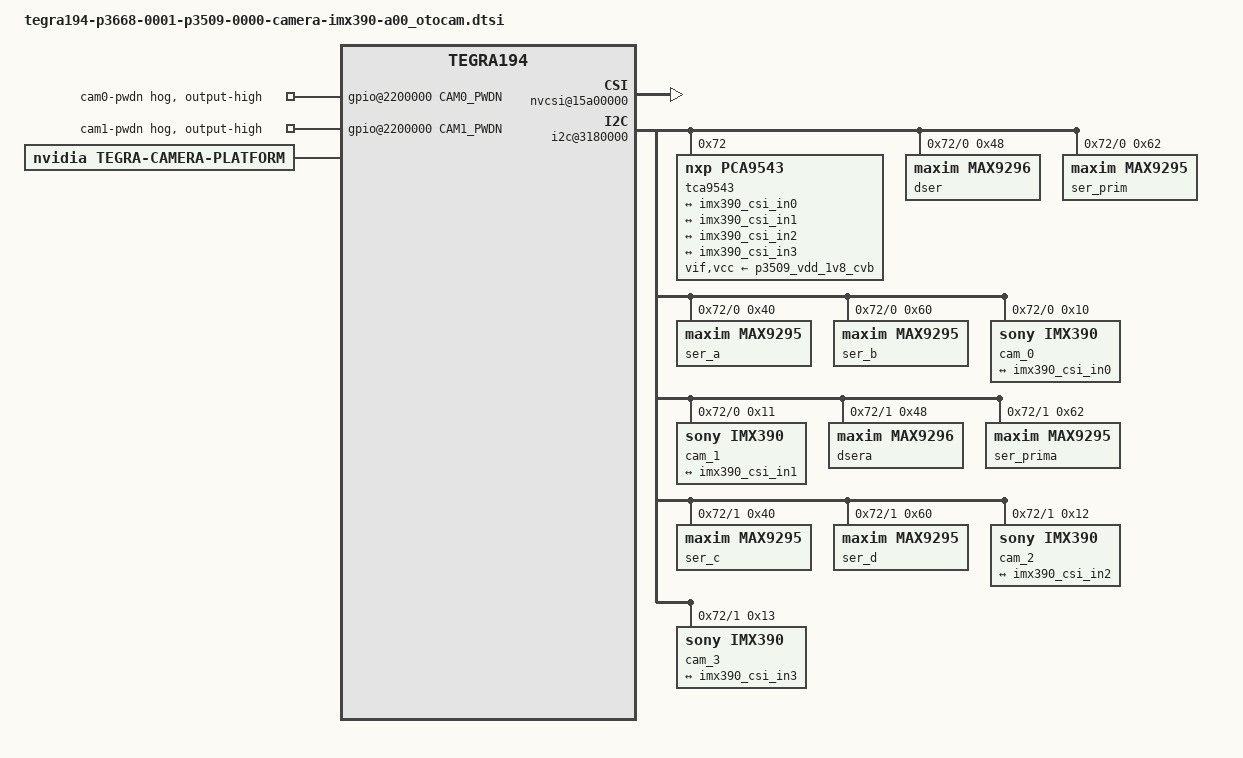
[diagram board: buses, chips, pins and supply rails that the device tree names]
/*
 * Copyright (c) 2018-2021, NVIDIA CORPORATION.  All rights reserved.
 *
 * This program is free software; you can redistribute it and/or modify it
 * under the terms and conditions of the GNU General Public License,
 * version 2, as published by the Free Software Foundation.
 *
 * This program is distributed in the hope it will be useful, but WITHOUT
 * ANY WARRANTY; without even the implied warranty of MERCHANTABILITY or
 * FITNESS FOR A PARTICULAR PURPOSE.  See the GNU General Public License for
 * more details.
 *
 * You should have received a copy of the GNU General Public License
 * along with this program.  If not, see <http://www.gnu.org/licenses/>.
 */

#include "dt-bindings/clock/tegra194-clock.h"
#define CAM0_PWDN	TEGRA194_MAIN_GPIO(P, 4)
#define CAM1_PWDN	TEGRA194_MAIN_GPIO(P, 5)
#define CAMERA_I2C_MUX_BUS(x) (0x1E + x)

/*
 * EAC-2000 (Navier NX)
 * PCA9543APWR*1
 * MAX9296*2
 */

/* The lanes number of CSI-A of MAX9296 */
#define CAM_LANES 4

/ {
	gpio@2200000 {
		/* CAM0_PWDN Power */
		camera-control-0_output-high {
			status = "okay";
			gpio-hog;
			gpios = <CAM0_PWDN 0>;
			output-high;
			label = "cam0-pwdn";
		};
		/* CAM1_PWDN Power */
		camera-control-1_output-high {
			status = "okay";
			gpio-hog;
			gpios = <CAM1_PWDN 0>;
			output-high;
			label = "cam1-pwdn";
		};
	};
     
	capture_vi_base: tegra-capture-vi  {
		num-channels = <4>; /* total cameras of EAC-2000 */
		#address-cells = <1>;
		#size-cells = <0>;
		status = "okay";

		ports {
			#address-cells = <1>;
			#size-cells = <0>;

			port@0 {
				reg = <0>;
				status = "okay";
				imx390_vi_in0: endpoint {
					status = "okay";
					vc-id = <0>;
					port-index = <0>;
					bus-width = <CAM_LANES>;
					remote-endpoint = <&imx390_csi_out0>;
				};
			};
			port@1 {
				reg = <1>;
				status = "okay";
				imx390_vi_in1: endpoint {
					status = "okay";
					vc-id = <1>;
					port-index = <0>;
					bus-width = <CAM_LANES>;
					remote-endpoint = <&imx390_csi_out1>;
				};
			};
			port@2 {
				reg = <2>;
				status = "okay";
				imx390_vi_in2: endpoint {
					status = "okay";
					vc-id = <0>;
					port-index = <2>;
					bus-width = <CAM_LANES>;
					remote-endpoint = <&imx390_csi_out2>;
				};
			};
			port@3 {
				reg = <3>;
				status = "okay";
				imx390_vi_in3: endpoint {
					status = "okay";
					vc-id = <1>;
					port-index = <2>;
					bus-width = <CAM_LANES>;
					remote-endpoint = <&imx390_csi_out3>;
				};
			};
		};
	}; /* End of capture_vi_base */

	host1x@13e00000 {
		nvcsi@15a00000 {
			num-channels = <4>; /* total cameras of EAC-2000 */
			#address-cells = <1>;
			#size-cells = <0>;
			status = "okay";

 			channel@0 {
				reg = <0>;
				status = "okay";
				ports {
					#address-cells = <1>;
					#size-cells = <0>;
					port@0 {
						reg = <0>;
						status = "okay";
						imx390_csi_in0: endpoint@0 {
							status = "okay";
							port-index = <0>;
							bus-width = <CAM_LANES>;
							remote-endpoint = <&imx390_out0>;
						};
					};
					port@1 {
						reg = <1>;
						status = "okay";
						imx390_csi_out0: endpoint@1 {
							status = "okay";
							remote-endpoint = <&imx390_vi_in0>;
						};
					};
				};
			};
                        channel@1 {
				reg = <1>;
				status = "okay";
				ports {
					#address-cells = <1>;
					#size-cells = <0>;
					port@0 {
						reg = <0>;
						status = "okay";
						imx390_csi_in1: endpoint@2 {
							status = "okay";
							port-index = <0>;
							bus-width = <CAM_LANES>;
							remote-endpoint = <&imx390_out1>;
						};
					};
					port@1 {
						reg = <1>;
						status = "okay";
						imx390_csi_out1: endpoint@3 {
							status = "okay";
							remote-endpoint = <&imx390_vi_in1>;
						};
					};
				};
			};
			channel@2 {
				reg = <2>;
				status = "okay";
				ports {
					#address-cells = <1>;
					#size-cells = <0>;
					port@0 {
						reg = <0>;
						status = "okay";
						imx390_csi_in2: endpoint@4 {
							status = "okay";
							port-index = <2>;
							bus-width = <CAM_LANES>;
							remote-endpoint = <&imx390_out2>;
						};
					};
					port@1 {
						reg = <1>;
						status = "okay";
						imx390_csi_out2: endpoint@5 {
							status = "okay";
							remote-endpoint = <&imx390_vi_in2>;
						};
					};
				};
			};
			channel@3 {
				reg = <3>;
				status = "okay";
				ports {
					#address-cells = <1>;
					#size-cells = <0>;
					port@0 {
						reg = <0>;
						status = "okay";
						imx390_csi_in3: endpoint@6 {
							status = "okay";
							port-index = <2>;
							bus-width = <CAM_LANES>;
							remote-endpoint = <&imx390_out3>;
						};
					};
					port@1 {
						reg = <1>;
						status = "okay";
						imx390_csi_out3: endpoint@7 {
							status = "okay";
							remote-endpoint = <&imx390_vi_in3>;
						};
					};
				};
			};
		}; /* End of nvcsi@15a00000 */
	}; /* End of host1x@13e00000 */

	fixed-regulators {
		p3509_vdd_1v8_cvb: regulator@102 {
			regulator-always-on;
		};
	};

	/* i2c-2 - 3180000 */
	i2c@3180000 {
		status = "okay";
		#address-cells = <1>;
		#size-cells = <0>;

		/* I2C MUX IC */
		tca9543@72 {
			status = "okay";
			compatible = "nxp,pca9543";
			reg = <0x72>;
			#address-cells = <1>;
			#size-cells = <0>;
			skip_mux_detect = "yes";
			vif-supply = <&p3509_vdd_1v8_cvb>;
			vcc-supply = <&p3509_vdd_1v8_cvb>;
			force_bus_start = <0x1e>;
			i2c-mux-idle-disconnect;

			/* IC MAX9296 (U6) */
			i2c@0 {
				reg = <0>;
				i2c-mux,deselect-on-exit;
				#address-cells = <1>;
				#size-cells = <0>;
				status = "okay";

				/*
				 * Setting for otocam
				 */
				dser: max9296@48 {
					compatible = "maxim,max9296";
					streams = "yuv8";
					reg = <0x48>;
					csi-mode = "2x4";
					max-src = <2>;
					fsync-gpio = <6>; // fsync gpio on MAX9296
				};
				ser_prim: max9295_prim@62 {
					compatible = "maxim,max9295";
					reg = <0x62>;
					is-prim-ser;
				};
				ser_a: max9295_a@40 {
					compatible = "maxim,max9295";
					reg = <0x40>;
					nvidia,gmsl-dser-device = <&dser>;
				};
				ser_b: max9295_b@60 {
					compatible = "maxim,max9295";
					reg = <0x60>;
					nvidia,gmsl-dser-device = <&dser>;
				};
				cam_0: imx390@10 {
					reg = <0x10>;
					reg_mux = <0>;
					/* Define any required hw resources needed by driver */
					/* ie. clocks, io pins, power sources */
					clocks = <&bpmp_clks TEGRA194_CLK_EXTPERIPH1>,
						 <&bpmp_clks TEGRA194_CLK_EXTPERIPH1>;
					clock-names = "extperiph1", "pllp_grtba";
					mclk = "extperiph1";
					nvidia,gmsl-ser-device = <&ser_a>;
					nvidia,gmsl-dser-device = <&dser>;

					compatible = "sony,imx390","nvidia,imx390isp";
					def-addr = <0x6d>;

					/* Physical dimensions of sensor */
					physical_w = "15.0";
					physical_h = "12.5";

					sensor_model ="imx390isp";

					/* Defines number of frames to be dropped by driver internally after applying */
					/* sensor crop settings. Some sensors send corrupt frames after applying */
					/* crop co-ordinates */
					post_crop_frame_drop = "0";

					/* Convert Gain to unit of dB (decibel) befor passing to kernel driver */
					//use_decibel_gain = "true";    // FIX:?

					/* enable CID_SENSOR_MODE_ID for sensor modes selection */
					use_sensor_mode_id = "true";

					mode0 {
						mclk_khz = "24000";
						tegra_sinterface = "serial_a";
						vc_id = "0";
						num_lanes = "4";
						discontinuous_clk = "no";
						dpcm_enable = "false";
						cil_settletime = "0";
						csi_pixel_bit_depth = "16";
						mode_type = "yuv";
						pixel_phase = "uyvy";

						active_w = "1920";
						active_h = "1080";
						readout_orientation = "0";
						line_length = "2200";
						inherent_gain = "1";
						pix_clk_hz =    "374000000";

						gain_factor = "10";
						min_gain_val = "0"; /* dB */
						max_gain_val = "300"; /* dB */
						step_gain_val = "3"; /* 0.3 */
						default_gain = "0";
						min_hdr_ratio = "1";
						max_hdr_ratio = "1";
						framerate_factor = "1000000";
						min_framerate = "30000000";
						max_framerate = "30000000";
						step_framerate = "1";
						default_framerate = "30000000";
						exposure_factor = "1000000";
						min_exp_time = "59"; /*us, 2 lines*/
						max_exp_time = "33333";
						step_exp_time = "1";
						default_exp_time = "33333";/* us */
						embedded_metadata_height = "0";
					};

					ports {
						#address-cells = <1>;
						#size-cells = <0>;
						port@0 {
							reg = <0>;
							imx390_out0: endpoint {
								vc-id = <0>;
								port-index = <0>;
								bus-width = <4>;
								remote-endpoint = <&imx390_csi_in0>;
							};
						};
					};
					gmsl-link {
						src-csi-port = "b";
						dst-csi-port = "a";
						serdes-csi-link = "a";
						csi-mode = "1x4";
						st-vc = <0>;
						vc-id = <0>;
						num-lanes = <4>;
						streams = "ued-u1","yuv8";
					};
				}; /* End of cam_0 */

				cam_1: imx390@11 {
					reg = <0x11>;
					reg_mux = <1>;
					/* Define any required hw resources needed by driver */
					/* ie. clocks, io pins, power sources */
					clocks = <&bpmp_clks TEGRA194_CLK_EXTPERIPH1>,
						 <&bpmp_clks TEGRA194_CLK_EXTPERIPH1>;
					clock-names = "extperiph1", "pllp_grtba";
					mclk = "extperiph1";
					nvidia,gmsl-ser-device = <&ser_b>;
					nvidia,gmsl-dser-device = <&dser>;

					compatible = "sony,imx390","nvidia,imx390isp";
					def-addr = <0x6d>;

					/* Physical dimensions of sensor */
					physical_w = "15.0";
					physical_h = "12.5";

					sensor_model ="imx390isp";

					/* Defines number of frames to be dropped by driver internally after applying */
					/* sensor crop settings. Some sensors send corrupt frames after applying */
					/* crop co-ordinates */
					post_crop_frame_drop = "0";

					/* Convert Gain to unit of dB (decibel) befor passing to kernel driver */
					//use_decibel_gain = "true";    // FIX:?

					/* enable CID_SENSOR_MODE_ID for sensor modes selection */
					use_sensor_mode_id = "true";

					mode0 {
						mclk_khz = "24000";
						tegra_sinterface = "serial_a";
						vc_id = "1";
						num_lanes = "4";
						discontinuous_clk = "no";
						dpcm_enable = "false";
						cil_settletime = "0";
						csi_pixel_bit_depth = "16";
						mode_type = "yuv";
						pixel_phase = "uyvy";

						active_w = "1920";
						active_h = "1080";
						readout_orientation = "0";
						line_length = "2200";
						inherent_gain = "1";
						pix_clk_hz = "374000000";

						gain_factor = "10";
						min_gain_val = "0"; /* dB */
						max_gain_val = "300"; /* dB */
						step_gain_val = "3"; /* 0.3 */
						default_gain = "0";
						min_hdr_ratio = "1";
						max_hdr_ratio = "1";
						framerate_factor = "1000000";
						min_framerate = "30000000";
						max_framerate = "30000000";
						step_framerate = "1";
						default_framerate = "30000000";
						exposure_factor = "1000000";
						min_exp_time = "59"; /*us, 2 lines*/
						max_exp_time = "33333";
						step_exp_time = "1";
						default_exp_time = "33333";/* us */
						embedded_metadata_height = "0";
					};

					ports {
						#address-cells = <1>;
						#size-cells = <0>;
						port@0 {
							reg = <0>;
							imx390_out1: endpoint {
								vc-id = <1>;
								port-index = <0>;
								bus-width = <4>;
								remote-endpoint = <&imx390_csi_in1>;
							};
						};
					};
					gmsl-link {
						src-csi-port = "b";
						dst-csi-port = "a";
						serdes-csi-link = "b";
						csi-mode = "1x4";
						st-vc = <0>;
						vc-id = <1>;
						num-lanes = <4>;
						streams = "ued-u1","yuv8";
					};
				}; /* End of cam_1 */
			}; /* End of i2c@0 */

			/* IC MAX9296 (U7) */
			i2c@1 {
				reg = <1>;
				i2c-mux,deselect-on-exit;
				#address-cells = <1>;
				#size-cells = <0>;
				status = "okay";

				/*
				 * Setting for otocam
				 */
				dsera: max9296@48 {
					compatible = "maxim,max9296";
					streams = "yuv8";
					reg = <0x48>;
					csi-mode = "2x4";
					max-src = <2>;
					fsync-gpio = <6>; // fsync gpio on MAX9296
				};
				ser_prima: max9295_prim@62 {
					compatible = "maxim,max9295";
					reg = <0x62>;
					is-prim-ser;
				};
				ser_c: max9295_a@40 {
					compatible = "maxim,max9295";
					reg = <0x40>;
					nvidia,gmsl-dser-device = <&dsera>;
				};
				ser_d: max9295_b@60 {
					compatible = "maxim,max9295";
					reg = <0x60>;
					nvidia,gmsl-dser-device = <&dsera>;
				};
				cam_2: imx390@12 {
					reg = <0x12>;
					reg_mux = <2>;
					clocks = <&bpmp_clks TEGRA194_CLK_EXTPERIPH1>,
						 <&bpmp_clks TEGRA194_CLK_EXTPERIPH1>;
					clock-names = "extperiph1", "pllp_grtba";
					mclk = "extperiph1";
					nvidia,gmsl-ser-device = <&ser_c>;
					nvidia,gmsl-dser-device = <&dsera>;

					compatible = "sony,imx390","nvidia,imx390isp";
					def-addr = <0x6d>;

					/* Physical dimensions of sensor */
					physical_w = "15.0";
					physical_h = "12.5";

					sensor_model ="imx390isp";

					/* Defines number of frames to be dropped by driver internally after applying */
					/* sensor crop settings. Some sensors send corrupt frames after applying */
					/* crop co-ordinates */
					post_crop_frame_drop = "0";

					/* Convert Gain to unit of dB (decibel) befor passing to kernel driver */
					//use_decibel_gain = "true";    // FIX:?

					/* enable CID_SENSOR_MODE_ID for sensor modes selection */
					use_sensor_mode_id = "true";

					mode0 {
						tegra_sinterface = "serial_c";
						vc_id = "0";
						mclk_khz = "24000";
						num_lanes = "4";
						discontinuous_clk = "no";
						dpcm_enable = "false";
						cil_settletime = "0";
						csi_pixel_bit_depth = "16";
						mode_type = "yuv";
						pixel_phase = "uyvy";

						active_w = "1920";
						active_h = "1080";
						readout_orientation = "0";
						line_length = "2200";
						inherent_gain = "1";
						pix_clk_hz = "374000000";

						gain_factor = "10";
						min_gain_val = "0"; /* dB */
						max_gain_val = "300"; /* dB */
						step_gain_val = "3"; /* 0.3 */
						default_gain = "0";
						min_hdr_ratio = "1";
						max_hdr_ratio = "1";
						framerate_factor = "1000000";
						min_framerate = "30000000";
						max_framerate = "30000000";
						step_framerate = "1";
						default_framerate = "30000000";
						exposure_factor = "1000000";
						min_exp_time = "59"; /*us, 2 lines*/
						max_exp_time = "33333";
						step_exp_time = "1";
						default_exp_time = "33333";/* us */
						embedded_metadata_height = "0";
					};

					ports {
						#address-cells = <1>;
						#size-cells = <0>;
						port@0 {
							reg = <0>;
							imx390_out2: endpoint {
								vc-id = <0>;
								port-index = <2>;
								bus-width = <4>;
								remote-endpoint = <&imx390_csi_in2>;
							};
						};
					};
					gmsl-link {
						src-csi-port = "b";
						dst-csi-port = "a";
						serdes-csi-link = "a";
						csi-mode = "1x4";
						st-vc = <0>;
						vc-id = <0>;
						num-lanes = <4>;
						streams = "yuv8","ued-u1";
					};
				};/* End of cam_2 */

				cam_3: imx390@13 {
					reg = <0x13>;
					reg_mux = <3>;
					clocks = <&bpmp_clks TEGRA194_CLK_EXTPERIPH1>,
						 <&bpmp_clks TEGRA194_CLK_EXTPERIPH1>;
					clock-names = "extperiph1", "pllp_grtba";
					mclk = "extperiph1";
					nvidia,gmsl-ser-device = <&ser_d>;
					nvidia,gmsl-dser-device = <&dsera>;

					compatible = "sony,imx390","nvidia,imx390isp";
					def-addr = <0x6d>;

					/* Physical dimensions of sensor */
					physical_w = "15.0";
					physical_h = "12.5";

					sensor_model ="imx390isp";

					/* Defines number of frames to be dropped by driver internally after applying */
					/* sensor crop settings. Some sensors send corrupt frames after applying */
					/* crop co-ordinates */
					post_crop_frame_drop = "0";

					/* Convert Gain to unit of dB (decibel) befor passing to kernel driver */
					//use_decibel_gain = "true";    // FIX:?

					/* enable CID_SENSOR_MODE_ID for sensor modes selection */
					use_sensor_mode_id = "true";

					mode0 {
						tegra_sinterface = "serial_c";
						vc_id = "1";
						mclk_khz = "24000";
						num_lanes = "4";
						discontinuous_clk = "no";
						dpcm_enable = "false";
						cil_settletime = "0";
						csi_pixel_bit_depth = "16";
						mode_type = "yuv";
						pixel_phase = "uyvy";

						active_w = "1920";
						active_h = "1080";
						readout_orientation = "0";
						line_length = "2200";
						inherent_gain = "1";
						pix_clk_hz = "374000000";

						gain_factor = "10";
						min_gain_val = "0"; /* dB */
						max_gain_val = "300"; /* dB */
						step_gain_val = "3"; /* 0.3 */
						default_gain = "0";
						min_hdr_ratio = "1";
						max_hdr_ratio = "1";
						framerate_factor = "1000000";
						min_framerate = "30000000";
						max_framerate = "30000000";
						step_framerate = "1";
						default_framerate = "30000000";
						exposure_factor = "1000000";
						min_exp_time = "59"; /*us, 2 lines*/
						max_exp_time = "33333";
						step_exp_time = "1";
						default_exp_time = "33333";/* us */
						embedded_metadata_height = "0";
					};

					ports {
						#address-cells = <1>;
						#size-cells = <0>;
						port@0 {
							reg = <0>;
							imx390_out3: endpoint {
								vc-id = <1>;
								port-index = <2>;
								bus-width = <4>;
								remote-endpoint = <&imx390_csi_in3>;
							};
						};
					};
					gmsl-link {
						src-csi-port = "b";
						dst-csi-port = "a";
						serdes-csi-link = "b";
						csi-mode = "1x4";
						st-vc = <0>;
						vc-id = <1>;
						num-lanes = <4>;
						streams = "yuv8","ued-u1";
					};
                                }; /* End of cam_3 */
			}; /* End of i2c@1 */

		}; /* End of tca9548@72 */
	}; /* End of i2c@3180000 */
};


/ {
	tegra-camera-platform {
		compatible = "nvidia, tegra-camera-platform";
		/**
		 * Physical settings to calculate max ISO BW
		 *
		 * num_csi_lanes = <>;
		 * Total number of CSI lanes when all cameras are active
		 *
		 * max_lane_speed = <>;
		 * Max lane speed in Kbit/s
		 *
		 * min_bits_per_pixel = <>;
		 * Min bits per pixel
		 *
		 * vi_peak_byte_per_pixel = <>;
		 * Max byte per pixel for the VI ISO case
		 *
		 * vi_bw_margin_pct = <>;
		 * Vi bandwidth margin in percentage
		 *
		 * max_pixel_rate = <>;
		 * Max pixel rate in Kpixel/s for the ISP ISO case
		 *
		 * isp_peak_byte_per_pixel = <>;
		 * Max byte per pixel for the ISP ISO case
		 *
		 * isp_bw_margin_pct = <>;
		 * Isp bandwidth margin in percentage
		 */
		num_csi_lanes = <4>; /* total cameras of EAC-2000 */
		max_lane_speed = <2500000>;
		min_bits_per_pixel = <16>;
		vi_peak_byte_per_pixel = <2>;
		vi_bw_margin_pct = <67>;
		max_pixel_rate = <750000>;
		isp_peak_byte_per_pixel = <5>;
		isp_bw_margin_pct = <25>;

		/**
		 * The general guideline for naming badge_info contains 3 parts, and is as follows,
		 * The first part is the camera_board_id for the module; if the module is in a FFD
		 * platform, then use the platform name for this part.
		 * The second part contains the position of the module, ex. "rear" or "front".
		 * The third part contains the last 6 characters of a part number which is found
		 * in the module's specsheet from the vender.
		 */
		modules {
			module0 {
				badge = "imx390_rear";
				position = "rear";
				orientation = "1";
				drivernode0 {
					pcl_id = "v4l2_sensor";
					devname = "imx390 30-001b";
					proc-device-tree = "/proc/device-tree/i2c@3180000/tca9543@72/i2c@0/imx390@10";
					status = "okay";
				};
			};
			module1 {
				badge = "imx390_front";
				position = "front";
				orientation = "1";
				drivernode0 {
					pcl_id = "v4l2_sensor";
					devname = "imx390 30-001c";
					proc-device-tree = "/proc/device-tree/i2c@3180000/tca9543@72/i2c@0/imx390@11";
					status = "okay";
				};
			};
			module2 {
				badge = "imx390_left";
				position = "topright";
				orientation = "1";
				drivernode0 {
					pcl_id = "v4l2_sensor";
					devname = "imx390 31-001b";
					proc-device-tree = "/proc/device-tree/i2c@3180000/tca9543@72/i2c@1/imx390@12";
					status = "okay";
				};
			};
			module3 {
				badge = "imx390_right";
				position = "bottomright";
				orientation = "1";
				drivernode0 {
					pcl_id = "v4l2_sensor";
					devname = "imx390 31-001c";
					proc-device-tree = "/proc/device-tree/i2c@3180000/tca9543@72/i2c@1/imx390@13";
					status = "okay";
				};
			};
		};
	}; /* End of tcp: tegra-camera-platform */
};
